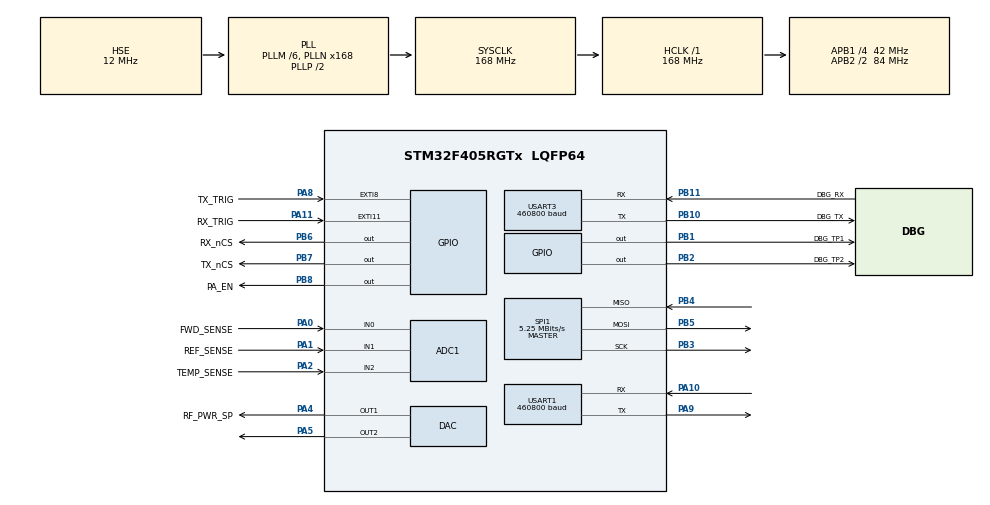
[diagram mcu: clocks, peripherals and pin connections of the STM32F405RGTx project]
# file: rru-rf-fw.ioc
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ADC1.Channel-0\#ChannelRegularConversion=ADC_CHANNEL_0
ADC1.Channel-1\#ChannelRegularConversion=ADC_CHANNEL_1
ADC1.Channel-2\#ChannelRegularConversion=ADC_CHANNEL_2
ADC1.ContinuousConvMode=DISABLE
ADC1.DMAContinuousRequests=ENABLE
ADC1.EOCSelection=ADC_EOC_SEQ_CONV
ADC1.ExternalTrigConv=ADC_EXTERNALTRIGCONV_T8_TRGO
ADC1.NbrOfConversion=3
ADC1.NbrOfConversionFlag=1
ADC1.Rank-0\#ChannelRegularConversion=1
ADC1.Rank-1\#ChannelRegularConversion=2
ADC1.Rank-2\#ChannelRegularConversion=3
ADC1.SamplingTime-0\#ChannelRegularConversion=ADC_SAMPLETIME_480CYCLES
ADC1.SamplingTime-1\#ChannelRegularConversion=ADC_SAMPLETIME_480CYCLES
ADC1.SamplingTime-2\#ChannelRegularConversion=ADC_SAMPLETIME_480CYCLES
ADC1.master=1
DAC.DAC_OutputBuffer=DAC_OUTPUTBUFFER_ENABLE
DAC.DAC_OutputBuffer2=DAC_OUTPUTBUFFER_ENABLE
DAC.DAC_Trigger=DAC_TRIGGER_SOFTWARE
DAC.DAC_Trigger2=DAC_TRIGGER_SOFTWARE
Dma.ADC1.0.Direction=DMA_PERIPH_TO_MEMORY
Dma.ADC1.0.FIFOMode=DMA_FIFOMODE_DISABLE
Dma.ADC1.0.Instance=DMA2_Stream0
Dma.ADC1.0.MemDataAlignment=DMA_MDATAALIGN_HALFWORD
Dma.ADC1.0.MemInc=DMA_MINC_ENABLE
Dma.ADC1.0.Mode=DMA_CIRCULAR
Dma.ADC1.0.PeriphDataAlignment=DMA_PDATAALIGN_HALFWORD
Dma.ADC1.0.PeriphInc=DMA_PINC_DISABLE
Dma.ADC1.0.Priority=DMA_PRIORITY_LOW
Dma.MEMTOMEM.3.Direction=DMA_MEMORY_TO_MEMORY
Dma.MEMTOMEM.3.FIFOMode=DMA_FIFOMODE_ENABLE
Dma.MEMTOMEM.3.FIFOThreshold=DMA_FIFO_THRESHOLD_FULL
Dma.MEMTOMEM.3.Instance=DMA2_Stream1
Dma.MEMTOMEM.3.MemBurst=DMA_MBURST_SINGLE
Dma.MEMTOMEM.3.MemDataAlignment=DMA_MDATAALIGN_BYTE
Dma.MEMTOMEM.3.MemInc=DMA_MINC_ENABLE
Dma.MEMTOMEM.3.Mode=DMA_NORMAL
Dma.MEMTOMEM.3.PeriphBurst=DMA_PBURST_SINGLE
Dma.MEMTOMEM.3.PeriphDataAlignment=DMA_PDATAALIGN_BYTE
Dma.MEMTOMEM.3.PeriphInc=DMA_PINC_ENABLE
Dma.MEMTOMEM.3.Priority=DMA_PRIORITY_LOW
Dma.Request0=ADC1
Dma.Request1=USART1_TX
Dma.Request2=USART1_RX
Dma.Request3=MEMTOMEM
Dma.Request4=USART3_TX
Dma.USART1_RX.2.Direction=DMA_PERIPH_TO_MEMORY
Dma.USART1_RX.2.FIFOMode=DMA_FIFOMODE_DISABLE
Dma.USART1_RX.2.Instance=DMA2_Stream2
Dma.USART1_RX.2.MemDataAlignment=DMA_MDATAALIGN_BYTE
Dma.USART1_RX.2.MemInc=DMA_MINC_ENABLE
Dma.USART1_RX.2.Mode=DMA_CIRCULAR
Dma.USART1_RX.2.PeriphDataAlignment=DMA_PDATAALIGN_BYTE
Dma.USART1_RX.2.PeriphInc=DMA_PINC_DISABLE
Dma.USART1_RX.2.Priority=DMA_PRIORITY_HIGH
Dma.USART1_TX.1.Direction=DMA_MEMORY_TO_PERIPH
Dma.USART1_TX.1.FIFOMode=DMA_FIFOMODE_DISABLE
Dma.USART1_TX.1.Instance=DMA2_Stream7
Dma.USART1_TX.1.MemDataAlignment=DMA_MDATAALIGN_BYTE
Dma.USART1_TX.1.MemInc=DMA_MINC_ENABLE
Dma.USART1_TX.1.Mode=DMA_NORMAL
Dma.USART1_TX.1.PeriphDataAlignment=DMA_PDATAALIGN_BYTE
Dma.USART1_TX.1.PeriphInc=DMA_PINC_DISABLE
Dma.USART1_TX.1.Priority=DMA_PRIORITY_HIGH
Dma.USART3_TX.4.Direction=DMA_MEMORY_TO_PERIPH
Dma.USART3_TX.4.FIFOMode=DMA_FIFOMODE_DISABLE
Dma.USART3_TX.4.Instance=DMA1_Stream3
Dma.USART3_TX.4.MemDataAlignment=DMA_MDATAALIGN_BYTE
Dma.USART3_TX.4.MemInc=DMA_MINC_ENABLE
Dma.USART3_TX.4.Mode=DMA_NORMAL
Dma.USART3_TX.4.PeriphDataAlignment=DMA_PDATAALIGN_BYTE
Dma.USART3_TX.4.PeriphInc=DMA_PINC_DISABLE
Dma.USART3_TX.4.Priority=DMA_PRIORITY_LOW
Mcu.Family=STM32F4
Mcu.Name=STM32F405RGTx
Mcu.Package=LQFP64
NVIC.ADC_IRQn=true\:3\:0\:true\:false\:true\:true\:true\:true
NVIC.DMA1_Stream3_IRQn=true\:0\:0\:false\:false\:true\:false\:true\:true
NVIC.DMA2_Stream0_IRQn=true\:3\:0\:true\:false\:true\:false\:true\:true
NVIC.DMA2_Stream2_IRQn=true\:0\:0\:false\:false\:true\:false\:true\:true
NVIC.DMA2_Stream7_IRQn=true\:1\:0\:true\:false\:true\:false\:true\:true
NVIC.EXTI9_5_IRQn=true\:0\:0\:false\:false\:true\:true\:true\:true
NVIC.PriorityGroup=NVIC_PRIORITYGROUP_4
NVIC.TIM6_DAC_IRQn=true\:2\:0\:true\:false\:true\:true\:true\:true
NVIC.USART1_IRQn=true\:1\:0\:true\:false\:true\:true\:true\:true
NVIC.USART3_IRQn=true\:0\:0\:false\:false\:true\:true\:true\:true
PA0-WKUP.GPIO_Label=FWD_SENSE
PA0-WKUP.Signal=ADCx_IN0
PA1.GPIO_Label=REF_SENSE
PA1.Signal=ADCx_IN1
PA10.Mode=Asynchronous
PA10.Signal=USART1_RX
PA11.GPIO_Label=RX_TRIG
PA11.Signal=GPXTI11
PA13.Mode=Serial_Wire
PA13.Signal=SYS_JTMS-SWDIO
PA14.Mode=Serial_Wire
PA14.Signal=SYS_JTCK-SWCLK
PA2.GPIO_Label=TEMP_SENSE
PA2.Signal=ADCx_IN2
PA4.GPIO_Label=RF_PWR_SP
PA4.Signal=COMP_DAC1_group
PA5.Signal=COMP_DAC2_group
PA8.GPIO_Label=TX_TRIG
PA8.Signal=GPXTI8
PA9.Mode=Asynchronous
PA9.Signal=USART1_TX
PB1.GPIO_Label=DBG_TP1
PB1.GPIO_Speed=GPIO_SPEED_FREQ_VERY_HIGH
PB1.Signal=GPIO_Output
PB10.GPIO_Label=DBG_TX
PB10.Mode=Asynchronous
PB10.Signal=USART3_TX
PB11.GPIO_Label=DBG_RX
PB11.Mode=Asynchronous
PB11.Signal=USART3_RX
PB2.GPIO_Label=DBG_TP2
PB2.GPIO_Speed=GPIO_SPEED_FREQ_VERY_HIGH
PB2.Signal=GPIO_Output
PB3.Mode=Full_Duplex_Master
PB3.Signal=SPI1_SCK
PB4.Mode=Full_Duplex_Master
PB4.Signal=SPI1_MISO
PB5.Mode=Full_Duplex_Master
PB5.Signal=SPI1_MOSI
PB6.GPIO_Label=RX_nCS
PB6.GPIO_Speed=GPIO_SPEED_FREQ_VERY_HIGH
PB6.PinState=GPIO_PIN_SET
PB6.Signal=GPIO_Output
PB7.GPIO_Label=TX_nCS
PB7.GPIO_Speed=GPIO_SPEED_FREQ_VERY_HIGH
PB7.PinState=GPIO_PIN_SET
PB7.Signal=GPIO_Output
PB8.GPIO_Label=PA_EN
PB8.GPIO_Speed=GPIO_SPEED_FREQ_VERY_HIGH
PB8.Signal=GPIO_Output
PH0-OSC_IN.Mode=HSE-External-Oscillator
PH0-OSC_IN.Signal=RCC_OSC_IN
PH1-OSC_OUT.Mode=HSE-External-Oscillator
PH1-OSC_OUT.Signal=RCC_OSC_OUT
ProjectManager.HeapSize=0x400
ProjectManager.StackSize=0x800
ProjectManager.TargetToolchain=STM32CubeIDE
RCC.48MHZClocksFreq_Value=84000000
RCC.AHBFreq_Value=168000000
RCC.APB1CLKDivider=RCC_HCLK_DIV4
RCC.APB1Freq_Value=42000000
RCC.APB1TimFreq_Value=84000000
RCC.APB2CLKDivider=RCC_HCLK_DIV2
RCC.APB2Freq_Value=84000000
RCC.APB2TimFreq_Value=168000000
RCC.CortexFreq_Value=168000000
RCC.HCLKFreq_Value=168000000
RCC.HSE_VALUE=12000000
RCC.HSI_VALUE=16000000
RCC.LSE_VALUE=32768
RCC.PLLM=6
RCC.PLLN=168
RCC.PLLSourceVirtual=RCC_PLLSOURCE_HSE
RCC.SYSCLKFreq_VALUE=168000000
RCC.SYSCLKSource=RCC_SYSCLKSOURCE_PLLCLK
RCC.VCOOutputFreq_Value=336000000
SH.ADCx_IN0.0=ADC1_IN0,IN0
SH.ADCx_IN1.0=ADC1_IN1,IN1
SH.ADCx_IN2.0=ADC1_IN2,IN2
SH.COMP_DAC1_group.0=DAC_OUT1,DAC_OUT1
SH.COMP_DAC2_group.0=DAC_OUT2,DAC_OUT2
SPI1.BaudRatePrescaler=SPI_BAUDRATEPRESCALER_16
SPI1.CalculateBaudRate=5.25 MBits/s
SPI1.Direction=SPI_DIRECTION_2LINES
SPI1.Mode=SPI_MODE_MASTER
SPI1.VirtualType=VM_MASTER
TIM6.Period=10-1
TIM6.Prescaler=8400-1
TIM6.TIM_MasterOutputTrigger=TIM_TRGO_UPDATE
TIM8.Period=1000-1
TIM8.Prescaler=8400-1
TIM8.TIM_MasterOutputTrigger=TIM_TRGO_UPDATE
USART1.BaudRate=460800
USART1.VirtualMode=VM_ASYNC
USART3.BaudRate=460800
USART3.VirtualMode=VM_ASYNC
VP_TIM6_VS_ClockSourceINT.Mode=Enable_Timer
VP_TIM8_VS_ClockSourceINT.Mode=Internal
board=custom

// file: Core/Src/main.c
/* USER CODE BEGIN Header */
/**
  ******************************************************************************
  * @file           : main.c
  * @brief          : Main program body
  ******************************************************************************
  * @attention
  *
  * Copyright (c) 2023 STMicroelectronics.
  * All rights reserved.
  *
  * This software is licensed under terms that can be found in the LICENSE file
  * in the root directory of this software component.
  * If no LICENSE file comes with this software, it is provided AS-IS.
  *
  ******************************************************************************
  */
/* USER CODE END Header */
#include "main.h"

/* USER CODE BEGIN Includes */
#include <math.h>
#include <string.h>
#include <stdio.h>
#include <stdarg.h>
#include "cc1200.h"
#include "term.h"
#include "interface_cmds.h"
#include "enums.h"
/* USER CODE END Includes */

/* USER CODE BEGIN PD */
#define IDENT_STR				"Remote Radio Unit (RRU) 420-450 MHz\nFW v2.0.0 by Wojciech SP5WWP"

#define DBG_MSGS											//enable debug messages over DBG_UART
#define VDDA					3.24f						//measured VDDA voltage
#define CC1200_REG_NUM			51							//number of regs used to initialize CC1200s
#define FCORR_STEP				(40.0e6f/262144.0f/8.0f)	//unit value for frequency correction (262144=2^18)
#define UART_LONG_BUF_SIZE		1024
#define UART_SHORT_BUF_SIZE		128							//buffer length for UART
#define SHORT_TXQ_SIZE			8							//TX queue length (short messages)
#define LONG_TXQ_SIZE   		2							//TX queue length (baseband transfers)
#define BSB_SIZE				960							//size of baseband chunks
#define BSB_TX_BUFF_SIZE		(12*BSB_SIZE)				//large buffer for baseband
/* USER CODE END PD */

/* USER CODE BEGIN PM */
#define FIX_TIMER_TRIGGER(handle_ptr) (__HAL_TIM_CLEAR_FLAG(handle_ptr, TIM_SR_UIF))
#define DBG_HALT while(1)
/* USER CODE END PM */

ADC_HandleTypeDef hadc1;
DMA_HandleTypeDef hdma_adc1;

DAC_HandleTypeDef hdac;

SPI_HandleTypeDef hspi1;

TIM_HandleTypeDef htim6;
TIM_HandleTypeDef htim8;

UART_HandleTypeDef huart1;
UART_HandleTypeDef huart3;
DMA_HandleTypeDef hdma_usart1_tx;
DMA_HandleTypeDef hdma_usart1_rx;
DMA_HandleTypeDef hdma_usart3_tx;

DMA_HandleTypeDef hdma_memtomem_dma2_stream1;
/* USER CODE BEGIN PV */
//aliases
UART_HandleTypeDef *ctrl_uart = &huart1;
UART_HandleTypeDef *dbg_uart = &huart3;
TIM_HandleTypeDef *ctrl_uart_tot = &htim6;
TIM_HandleTypeDef *adc_timebase = &htim8;

//errors
const char *errstrings[5] =
{
	"OK",
	"RX PLL did not lock",
	"TX PLL did not lock",
	"RX SPI communication error",
	"TX SPI communication error"
};

//settings
struct rru_settings_t
{
	uint32_t tx_freq;
	uint32_t rx_freq;
	float tx_pwr_dbm;
} rru_settings;

trx_data_t trx_data[2];

uint32_t dev_err; //default state - no error

uint8_t trx_state = TRX_IDLE;

//ADC stuff
volatile uint16_t adc_vals[3]; //raw values read from ADC channels 0, 1, and 2

//AD8318 RF power sensor cal data (consts for now)
//based on 2-point linear approximation
//P(U) = a*U + b + cal_atten + cal_corr
//U[V]		P[dBm]
//0.64		0.0
//1.85		-50.0
const float cal_a		= -41.3223140495868f;	//dBm/V
const float cal_b		=  26.4462809917355f;	//dBm
const float cal_offs	=  62.5f;				//dB
const float cal_corr	=  -3.6f;				//dB

//UART control and baseband transfer
volatile uint8_t uart_rx[UART_LONG_BUF_SIZE];	//DMA UART RX buffer
volatile uint16_t uart_rx_tail;
enum uart_state_t uart_state = WAIT_ID;		//idle state

uint8_t cmd_id;
uint16_t cmd_len;
uint16_t payload_pos;
uint8_t payload[1024];

typedef struct											//TX queue - short packets
{
	uint8_t  data[UART_SHORT_BUF_SIZE];
	uint16_t len;
} txq_queue_t;
txq_queue_t txq[SHORT_TXQ_SIZE];						//TX queue - short packets

volatile uint8_t txq_head;
volatile uint8_t txq_tail;
volatile uint8_t txq_busy;   							//ongoing DMA transfer?

typedef struct											//TX queue - long packets
{
    uint8_t data[UART_LONG_BUF_SIZE];
    uint16_t len;
} bsbq_queue_t;
bsbq_queue_t bsbq[LONG_TXQ_SIZE];						//TX queue - long packets

volatile uint8_t bsbq_head;
volatile uint8_t bsbq_tail;
volatile uint8_t bsbq_busy;

volatile uint8_t tx_pend;								//pending tx sample write?
volatile uint8_t tx_active;

uint8_t bsb_rx[2*BSB_SIZE];								//rx samples
volatile uint8_t rx_pend;								//pending rx sample read?
uint16_t rx_num_wr;

uint8_t circ_bsb_tx_buff[BSB_TX_BUFF_SIZE];
volatile uint16_t circ_bsb_buff_tail;
volatile uint16_t circ_bsb_buff_head;
/* USER CODE END PV */

void SystemClock_Config(void);
static void MX_GPIO_Init(void);
static void MX_DMA_Init(void);
static void MX_ADC1_Init(void);
static void MX_DAC_Init(void);
static void MX_SPI1_Init(void);
static void MX_USART1_UART_Init(void);
static void MX_USART3_UART_Init(void);
static void MX_TIM6_Init(void);
static void MX_TIM8_Init(void);

/* USER CODE BEGIN 0 */
void dbg_print(const char* color_code, const char* fmt, ...)
{
	#ifdef DBG_MSGS
	char str[100];
	va_list ap;

	va_start(ap, fmt);
	vsprintf(str, fmt, ap);
	va_end(ap);

	if(color_code!=NULL)
	{
		//TODO: replace this with queued DMA
		HAL_UART_Transmit(&huart3, (uint8_t*)color_code, strlen(color_code), 10);
		HAL_UART_Transmit(&huart3, (uint8_t*)str, strlen(str), 100);
		HAL_UART_Transmit(&huart3, (uint8_t*)TERM_DEFAULT, strlen(TERM_DEFAULT), 10);
	}
	else
	{
		HAL_UART_Transmit(&huart3, (uint8_t*)str, strlen(str), 100);
	}
	#endif
}

uint16_t dbm_to_alc(float dbm)
{
	//TODO: magic numbers
	return roundf(43.8033381164565f*dbm + 564.564609923722f);
}

//get RF power in dBm
//and temperature in degs C, based on LMT87's output voltage
void get_meas_vals(float* pwr_fwd, float* pwr_ref, float* temp)
{
	*pwr_fwd = cal_a * (adc_vals[0]/4096.0f*VDDA) + cal_b + cal_offs+cal_corr; //take coupling and attenuation into account
	*pwr_ref = cal_a * (adc_vals[1]/4096.0f*VDDA) + cal_b + cal_offs+cal_corr;
	*temp = (-13.582f+sqrtf(184.470724f+0.01732f*(2.2308f-(adc_vals[2]/4096.0f*VDDA))*1000.0f))/0.00866f + 30.0f;
}

//set rf power output setpoint
//0 - lowest power, 0xFFF - max power
void set_rf_pwr_setpoint(uint16_t pwr)
{
	HAL_DAC_SetValue(&hdac, DAC_CHANNEL_1, DAC_ALIGN_12B_R, pwr>0xFFF?0xFFF:pwr);
	HAL_DAC_Start(&hdac, DAC_CHANNEL_1);
}

void set_dac_ch2(uint16_t val)
{
	HAL_DAC_SetValue(&hdac, DAC_CHANNEL_2, DAC_ALIGN_12B_R, val>0xFFF?0xFFF:val);
	HAL_DAC_Start(&hdac, DAC_CHANNEL_2);
}

//calculate SWR based on fwd and ref power
//returns 0.0 when input data is invalid
float calc_swr(float fwd, float ref)
{
	//in an ideal world this would be physically impossible
	//but there's always some measurement error that could cause this
	if(ref >= fwd)
		return INFINITY;

	//dBm to watts
	fwd = powf(10.0f, fwd/10.0f - 3.0f);
	ref = powf(10.0f, ref/10.0f - 3.0f);

	float s = sqrtf(ref/fwd);

	return (1.0f+s)/(1.0f-s);
}

//enable RF PA (assert one of two enable signals)
void rf_pa_en(uint8_t en)
{
	if(en)
		PA_EN_GPIO_Port->BSRR=(uint32_t)PA_EN_Pin;
	else
		PA_EN_GPIO_Port->BSRR=(uint32_t)PA_EN_Pin<<16;
}

void set_TP(enum tp_t tp, uint8_t state)
{
	if(tp==TP1)
	{
		if(state)
			DBG_TP1_GPIO_Port->BSRR=(uint32_t)DBG_TP1_Pin;
		else
			DBG_TP1_GPIO_Port->BSRR=(uint32_t)DBG_TP1_Pin<<16;
	}
	else if(tp==TP2)
	{
		if(state)
			DBG_TP2_GPIO_Port->BSRR=(uint32_t)DBG_TP2_Pin;
		else
			DBG_TP2_GPIO_Port->BSRR=(uint32_t)DBG_TP2_Pin<<16;
	}
}

void set_uart_ctrl_timeout(uint8_t ms)
{
	ctrl_uart_tot->Instance->ARR = (uint32_t)ms*10 - 1;
}

void platform_init(void)
{
	//enable FPU
	#if (__FPU_PRESENT == 1) && (__FPU_USED == 1)
	SCB->CPACR |= ((3UL << 10*2)|(3UL << 11*2));  /* set CP10 and CP11 Full Access */
	#endif

	//default settings
	set_rf_pwr_setpoint(0);
	set_dac_ch2(0); //can be used for debugging
	rf_pa_en(0);
	trx_set_CS(CHIP_RX, 1);
	trx_set_CS(CHIP_TX, 1);
	set_TP(TP1, 0);
	set_TP(TP2, 0);

	HAL_Delay(500);
	trx_reset(CHIP_RX);
	trx_reset(CHIP_TX);

	HAL_Delay(100);
	trx_write_cmd(CHIP_RX, STR_IDLE);
	trx_write_cmd(CHIP_TX, STR_IDLE);

	dbg_print(0, TERM_CLR); //clear console and print out ident string
	dbg_print(TERM_GREEN, IDENT_STR); dbg_print(0,  "\n");

	HAL_Delay(10);
	trx_detect(CHIP_RX, trx_data[CHIP_RX].name);
	trx_detect(CHIP_TX, trx_data[CHIP_TX].name);
	dbg_print(0, "RX IC: %s\nTX IC: %s\n", trx_data[CHIP_RX].name, trx_data[CHIP_TX].name);

	trx_data[CHIP_RX].freq = 433475000;							//default
	trx_data[CHIP_TX].freq = 435000000;
	trx_data[CHIP_RX].fcorr = 0;
	trx_data[CHIP_TX].fcorr = 0;
	trx_data[CHIP_TX].pwr = 3;									//3 to 63
	rru_settings.tx_pwr_dbm = 30.00f;							//30dBm (1W) default

	dbg_print(0, "Starting TRX config...");
	trx_config(CHIP_RX, trx_data[CHIP_RX]);
	trx_config(CHIP_TX, trx_data[CHIP_TX]);
	trx_write_reg(CHIP_TX, 0x2F7E, 0); //zero frequency deviation at TX idle
	dbg_print(TERM_GREEN, " done\n");

	HAL_Delay(50);
	trx_write_cmd(CHIP_RX, STR_SCAL);
	trx_write_cmd(CHIP_TX, STR_SCAL);

	HAL_Delay(50);
	trx_data[CHIP_RX].pll_locked = ((trx_read_reg(CHIP_RX, 0x2F8D)^0x80)&0x81)==0x81; //FSCAL_CTRL=1 and FSCAL_CTRL_NOT_USED=0
	trx_data[CHIP_TX].pll_locked = ((trx_read_reg(CHIP_TX, 0x2F8D)^0x80)&0x81)==0x81;
	dbg_print(0, "RX PLL");
	trx_data[CHIP_RX].pll_locked ? dbg_print(TERM_GREEN, " locked\n") : dbg_print(TERM_RED, " unlocked\n");
	dbg_print(0, "TX PLL");
	trx_data[CHIP_TX].pll_locked ? dbg_print(TERM_GREEN, " locked\n") : dbg_print(TERM_RED, " unlocked\n");

	if(!trx_data[CHIP_RX].pll_locked)
	{
		dbg_print(TERM_RED, "ERROR %d: %s\n", ERR_RX_PLL, errstrings[ERR_RX_PLL]);
		dev_err|=(1UL<<ERR_RX_PLL);
	}
	if(!trx_data[CHIP_TX].pll_locked)
	{
		dbg_print(TERM_RED, "ERROR %d: %s\n", ERR_TX_PLL, errstrings[ERR_TX_PLL]);
		dev_err|=(1UL<<ERR_TX_PLL);
	}
	if(strstr((char*)trx_data[CHIP_RX].name, "unknown")!=NULL)
	{
		dbg_print(TERM_RED, "ERROR %d: %s\n", ERR_RX_SPI, errstrings[ERR_RX_SPI]);
		dev_err|=(1UL<<ERR_RX_SPI);
	}
	if(strstr((char*)trx_data[CHIP_TX].name, "unknown")!=NULL)
	{
		dbg_print(TERM_RED, "ERROR %d: %s\n", ERR_TX_SPI, errstrings[ERR_TX_SPI]);
		dev_err|=(1UL<<ERR_TX_SPI);
	}

	//set RX/TX to idle/TX
	trx_write_cmd(CHIP_RX, STR_IDLE);
	trx_write_cmd(CHIP_TX, STR_STX);

	//dbg_print(TERM_YELLOW, "[DBG] TX status %01X\n", trx_read_reg(CHIP_TX, STR_SNOP)>>4);
	//dbg_print(TERM_YELLOW, "[DBG] UART1 BRR: %08X\n", huart1.Instance->BRR);

	//start ADC conversions
	HAL_ADC_Start_DMA(&hadc1, (uint32_t*)adc_vals, 3);
	HAL_TIM_Base_Start(adc_timebase);

	//enable interface comms over UART1
	set_uart_ctrl_timeout(10); //10ms timeout
	HAL_UART_Receive_DMA(ctrl_uart, (uint8_t*)uart_rx, sizeof(uart_rx));
}

uint16_t uart_ctrl_data_avbl(void)
{
    uint16_t head = UART_LONG_BUF_SIZE - __HAL_DMA_GET_COUNTER(ctrl_uart->hdmarx);

    if (head >= uart_rx_tail)
        return head - uart_rx_tail;
    else
        return UART_LONG_BUF_SIZE - uart_rx_tail + head;
}

int uart_ctrl_get_byte(uint8_t *b)
{
    if (uart_ctrl_data_avbl() == 0)
        return 0;

    *b = uart_rx[uart_rx_tail];
    uart_rx_tail = (uart_rx_tail + 1) % UART_LONG_BUF_SIZE;

    //start the timeout timer when the data is detected, not when it arrives
    FIX_TIMER_TRIGGER(ctrl_uart_tot);
    ctrl_uart_tot->Instance->CNT = 0;
    HAL_TIM_Base_Start_IT(ctrl_uart_tot);

    return 1;
}

void interface_resp_short(uint8_t cid, const uint8_t *resp, uint16_t pld_len)
{
	uint16_t len = pld_len + 3;

	//drop oversized
    if (len > UART_SHORT_BUF_SIZE)
    	return;

    //next queue entry
    uint8_t next = (txq_head+1) % SHORT_TXQ_SIZE;

    //queue full, drop packet
    if (next == txq_tail)
    	return;

    txq[txq_head].data[0] = cid;
    memcpy(&txq[txq_head].data[1], (uint8_t*)&len, sizeof(uint16_t));
    memcpy(&txq[txq_head].data[3], resp, pld_len);
    txq[txq_head].len = len;
    txq_head = next;

    //if UART TX is idle, start transmission
    if (!txq_busy && !bsbq_busy)
    {
        txq_busy = 1;
        HAL_UART_Transmit_DMA(ctrl_uart, txq[txq_tail].data, txq[txq_tail].len);
    }
}

void interface_resp_long(uint8_t cid, const uint8_t *resp, uint16_t pld_len)
{
	uint16_t len = pld_len+3;

	//drop oversized
    if (len > UART_LONG_BUF_SIZE)
    	return;

    //next queue entry
    uint8_t next = (bsbq_head+1) % LONG_TXQ_SIZE;

    //queue full, drop packet
    if (next == bsbq_tail)
    	return;

    bsbq[bsbq_head].data[0] = cid;
    memcpy(&bsbq[bsbq_head].data[1], (uint8_t*)&len, sizeof(uint16_t));
    memcpy(&bsbq[bsbq_head].data[3], resp, pld_len);
    bsbq[bsbq_head].len = len;
    bsbq_head = next;

    //if UART TX is idle, start transmission
    if (!txq_busy && !bsbq_busy)
    {
    	bsbq_busy = 1;
        HAL_UART_Transmit_DMA(ctrl_uart, bsbq[bsbq_tail].data, bsbq[bsbq_tail].len);
    }
}

void interface_resp_byte(enum cmd_t cmd, uint8_t resp)
{
	//single-byte response (4 bytes total)
	interface_resp_short(cmd, &resp, 1);
}

void handle_command(uint8_t cid, uint8_t *pld, uint16_t pld_len)
{
	//float f_val;
	//int8_t i8_val;
	uint8_t u8_val;
	int16_t i16_val;
	uint32_t u32_val;

	switch (cid)
	{
		case CMD_PING:
			interface_resp_short(cid, (uint8_t*)&dev_err, sizeof(dev_err));
		break;

		case CMD_SET_RX_FREQ:
		{
			if (pld_len == sizeof(uint32_t))
			{
				memcpy((uint8_t*)&u32_val, pld, sizeof(uint32_t));
			}
			else
			{
				interface_resp_byte(cid, ERR_CMD_MALFORM);
				break;
			}

			if(u32_val>=420e6 && u32_val<=450e6)
			{
				trx_data[CHIP_RX].freq = u32_val;
				interface_resp_byte(cid, ERR_OK);
			}
			else
			{
				interface_resp_byte(cid, ERR_RANGE);
			}
		}
		break;

		case CMD_SET_TX_FREQ:
			if (pld_len == sizeof(uint32_t))
			{
				memcpy((uint8_t*)&u32_val, pld, sizeof(uint32_t));
			}
			else
			{
				interface_resp_byte(cid, ERR_CMD_MALFORM);
				break;
			}

			if(u32_val>=420e6 && u32_val<=450e6)
			{
				trx_data[CHIP_TX].freq = u32_val;
				interface_resp_byte(cid, ERR_OK);
			}
			else
			{
				interface_resp_byte(cid, ERR_RANGE);
			}
		break;

		case CMD_SET_TX_POWER:
		{
			if (pld_len == 1)
			{
				u8_val = pld[0];
			}
			else
			{
				interface_resp_byte(cid, ERR_CMD_MALFORM);
				break;
			}

			float pwr_sp = u8_val / 4.0f; //value in dBm*4

			if(pwr_sp>=30.0f && pwr_sp<=47.0f) //30 to 47 dBm
			{
				rru_settings.tx_pwr_dbm = pwr_sp;
				interface_resp_byte(cid, ERR_OK);
			}
			else
			{
				interface_resp_byte(cid, ERR_RANGE);
			}
		}
		break;

	  	case CMD_SET_RX_FREQ_CORR:
	  		if (pld_len == sizeof(int16_t))
	  		{
	  			memcpy((uint8_t*)&i16_val, pld, sizeof(int16_t));
	  		}
	  		else
	  		{
	  			interface_resp_byte(cid, ERR_CMD_MALFORM);
	  			break;
	  		}

			if(i16_val>=-200 && i16_val<=200) //keep it within a sane range
			{
				trx_data[CHIP_RX].fcorr = i16_val;
				interface_resp_byte(cid, ERR_OK);
			}
			else
			{
				interface_resp_byte(cid, ERR_RANGE);
			}
		break;

	  	case CMD_SET_TX_FREQ_CORR:
	  		if (pld_len == sizeof(int16_t))
	  		{
	  			memcpy((uint8_t*)&i16_val, pld, sizeof(int16_t));
	  		}
	  		else
	  		{
	  			interface_resp_byte(cid, ERR_CMD_MALFORM);
	  			break;
	  		}

			if(i16_val>=-200 && i16_val<=200) //keep it within a sane range
			{
				trx_data[CHIP_TX].fcorr = i16_val;
				interface_resp_byte(cid, ERR_OK);
			}
			else
			{
				interface_resp_byte(cid, ERR_RANGE);
			}
		break;

	  	case CMD_SET_AFC:
	  		if (pld_len == 1)
	  		{
	  			u8_val = *pld;
	  		}
	  		else
	  		{
	  			interface_resp_byte(cid, ERR_CMD_MALFORM);
	  			break;
	  		}

	  		//the change will be applied at the next TX->RX switch
			trx_data[CHIP_RX].afc = u8_val==0 ? 0 : 1;
			interface_resp_byte(cid, ERR_OK);
		break;

	  	case CMD_TX_START:
	  		if (pld_len == 1)
	  		{
	  			u8_val = *pld;
	  		}
	  		else
	  		{
	  			interface_resp_byte(cid, ERR_CMD_MALFORM);
	  			break;
	  		}

	  		if(u8_val) //start
	  		{
	  			if(trx_state==TRX_IDLE && dev_err==ERR_OK)
				{
					//reset the buffer and state machine
					memset(circ_bsb_tx_buff, 0, sizeof(circ_bsb_tx_buff));
					circ_bsb_buff_tail = 0;
					circ_bsb_buff_head = 0;

	  				//config CC1200
					/*trx_data[CHIP_TX].pwr = 13 + (rru_settings.tx_pwr_dbm-30)*2; //TODO: fix this!
		  			trx_config(CHIP_TX, trx_data[CHIP_TX]);
		  			HAL_Delay(10);
		  			trx_write_cmd(CHIP_TX, STR_STX);*/

		  			//switch state
	  				trx_state = TRX_TX;
	  				tx_active = 0;

		  			//enable RF PA
		  			/*HAL_Delay(50);
		  			rf_pa_en(1);*/

					//enable external baseband sample triggering
					//HAL_NVIC_EnableIRQ(EXTI9_5_IRQn);

					//reply
					interface_resp_byte(cid, ERR_OK);
				}
				else
				{
					if (dev_err!=ERR_OK)
						interface_resp_byte(cid, ERR_OTHER);
					else
						interface_resp_byte(cid, ERR_BUSY);
				}
	  		}
	  		else //stop
	  		{
	  			if(trx_state==TRX_TX && dev_err==ERR_OK)
				{
					//disable external baseband sample triggering
					HAL_NVIC_DisableIRQ(EXTI9_5_IRQn);

	  				//disable RF PA
	  				rf_pa_en(0);

					//set CC1200 to low RF power
					trx_data[CHIP_TX].pwr = 3;
					trx_config(CHIP_TX, trx_data[CHIP_TX]);
					HAL_Delay(10);
					trx_write_cmd(CHIP_TX, STR_STX);

					//switch state
					trx_state = TRX_IDLE;
					tx_active = 0;

					//reply
					interface_resp_byte(cid, ERR_OK);
				}
				else
				{
					if (dev_err!=ERR_OK)
						interface_resp_byte(cid, ERR_OTHER);
					else
						interface_resp_byte(cid, ERR_NOP);
				}
	  		}
	  	break;

	  	case CMD_RX_START:
	  		if (pld_len == 1)
	  		{
	  			u8_val = *pld;
	  		}
	  		else
	  		{
	  			interface_resp_byte(cid, ERR_CMD_MALFORM);
	  			break;
	  		}

	  		if(u8_val) //start
	  		{
	  			if(trx_state==TRX_IDLE && dev_err==ERR_OK)
	  			{
	  				//reset buffers
	  				memset(bsb_rx, 0, sizeof(bsb_rx));
	  				rx_pend = 0;
	  				rx_num_wr = 0;

	  				//config CC1200
	  				trx_config(CHIP_RX, trx_data[CHIP_RX]);
	  				HAL_Delay(10);

	  				//switch to RX
	  				trx_write_cmd(CHIP_RX, STR_SRX);
	  				HAL_Delay(10);
	  				trx_state = TRX_RX;

	  				//enable 24kHz trigger (TODO: check if this works if RX is issued before TX)
	  				HAL_NVIC_EnableIRQ(EXTI9_5_IRQn);

	  				//reply
	  				interface_resp_byte(cid, ERR_OK);
	  			}
	  			else
	  			{
	  				if (dev_err!=ERR_OK)
	  					interface_resp_byte(cid, ERR_OTHER);
	  				else
	  					interface_resp_byte(cid, ERR_BUSY);
	  			}
	  		}
	  		else //stop
	  		{
	  			if (trx_state==TRX_RX && dev_err==ERR_OK)
	  			{
					  //disable read baseband trigger signal
					  HAL_NVIC_DisableIRQ(EXTI9_5_IRQn);

					  //switch device state
					  trx_write_cmd(CHIP_RX, STR_IDLE);
					  trx_state = TRX_IDLE;

					  //reply
					  interface_resp_byte(cid, ERR_OK); //OK
	  			}
	  			else
	  			{
	  				if (dev_err!=ERR_OK)
	  					interface_resp_byte(cid, ERR_OTHER);
	  				else
	  					interface_resp_byte(cid, ERR_NOP);
	  			}
	  		  }
	  	break;

	  	case CMD_TX_DATA:
	  		  if (trx_state==TRX_TX && pld_len==960)
	  		  {
	  			  //enough space in the circular buffer?
	  			  if ((circ_bsb_buff_tail - circ_bsb_buff_head - 1 + BSB_TX_BUFF_SIZE) % BSB_TX_BUFF_SIZE >= 960)
	  			  {
	  				  u32_val = BSB_TX_BUFF_SIZE - circ_bsb_buff_head;

	  				  if (u32_val >= 960)
	  				  {
	  					  memcpy(&circ_bsb_tx_buff[circ_bsb_buff_head], pld, 960);
	  				  }
	  				  else
	  				  {
					      memcpy(&circ_bsb_tx_buff[circ_bsb_buff_head], pld, u32_val);
						  memcpy(&circ_bsb_tx_buff[0], pld + u32_val, 960 - u32_val);
	  				  }

					  circ_bsb_buff_head = (circ_bsb_buff_head+960) % BSB_TX_BUFF_SIZE;

					  uint16_t fill = (circ_bsb_buff_head - circ_bsb_buff_tail + BSB_TX_BUFF_SIZE) % BSB_TX_BUFF_SIZE;
					  if (fill >= 6 * BSB_SIZE && tx_active == 0)
					  {
						  trx_data[CHIP_TX].pwr = 13 + (rru_settings.tx_pwr_dbm-30)*2; //TODO: fix this!
						  trx_config(CHIP_TX, trx_data[CHIP_TX]);
						  HAL_Delay(10);
						  trx_write_cmd(CHIP_TX, STR_STX);

						  rf_pa_en(1);

						  //enable baseband trigger
						  HAL_NVIC_EnableIRQ(EXTI9_5_IRQn);

						  tx_active = 1;
					  }

					  interface_resp_byte(cid, ERR_OK);
	  			  }
	  			  else
	  			  {
	  				  interface_resp_byte(cid, ERR_BUFF_FULL);
	  			  }
	  		  }
	  	  break;

	  	  case CMD_GET_IDENT:
			  //reply with the device's IDENT string
			  interface_resp_short(cid, (uint8_t*)IDENT_STR, strlen(IDENT_STR));
		  break;

	  	  case CMD_GET_CAPS:
			  //FM only, half-duplex for now
			  interface_resp_byte(cid, 0x02);
		  break;

	  	  case CMD_GET_RX_FREQ:
	  		  interface_resp_short(cid, (uint8_t*)&trx_data[CHIP_RX].freq, sizeof(uint32_t));
		  break;

	  	  case CMD_GET_TX_FREQ:
	  		  interface_resp_short(cid, (uint8_t*)&trx_data[CHIP_TX].freq, sizeof(uint32_t));
		  break;

	  	  case CMD_GET_TX_POWER:
	  		  ;
		  break;

	  	  case CMD_GET_BSB_BUFF:
	  		  //TODO: put some working code here
	  		  interface_resp_byte(cid, 0);
	  	  break;

	  	  case CMD_GET_RSSI:
	  		  u8_val = trx_read_reg(CHIP_RX, 0x2F71); //RSSI
	  		  interface_resp_byte(cid, u8_val);
		  break;

	  	  case 0xA0: // debug command only
	  	  {
	  		  char msg[128];
	  		  float fwd, ref, temp;
	  		  get_meas_vals(&fwd, &ref, &temp);
	  		  sprintf(msg, "FWD %.1fdBm REF %.1fdBm, TEMP %.1f*C\n", fwd, ref, temp);
	  		  HAL_UART_Transmit(ctrl_uart, (uint8_t*)msg, strlen(msg), 100);
	  	  }
		  break;
	}
}

void uart_ctrl_process(void)
{
    uint8_t b;

    while (uart_ctrl_get_byte(&b))
    {
        switch (uart_state)
        {
			case WAIT_ID:
				cmd_id = b;
				uart_state = WAIT_LEN1;
			break;

			case WAIT_LEN1:
				cmd_len = b;
				uart_state = WAIT_LEN2;
			break;

			case WAIT_LEN2:
				cmd_len |= ((uint16_t)b << 8);
				payload_pos = 0;

				if (cmd_len == 3)
				{
					handle_command(cmd_id, NULL, 0);
					uart_state = WAIT_ID;
				}
				else
					uart_state = WAIT_PAYLOAD;
			break;

			case WAIT_PAYLOAD:
				payload[payload_pos++] = b;

				if (payload_pos >= cmd_len - 3)
				{
					handle_command(cmd_id, payload, payload_pos);
					uart_state = WAIT_ID;
				}
			break;
        }
    }
}

void HAL_TIM_PeriodElapsedCallback(TIM_HandleTypeDef *htim)
{
	TIM_TypeDef* tim = htim->Instance;

	//USART1 timeout timer
	if(tim == TIM6)
	{
		HAL_TIM_Base_Stop_IT(ctrl_uart_tot);
		uart_state = WAIT_ID;
	}
}

void HAL_GPIO_EXTI_Callback(uint16_t GPIO_Pin)
{
	//24kHz trigger signal from the RX CC1200
	if(GPIO_Pin == TX_TRIG_Pin)
	{
		//HAL_GPIO_TogglePin(DBG_TP1_GPIO_Port, DBG_TP1_Pin);

		if (trx_state == TRX_TX)
		{
			tx_pend = 1;
		}

		//TODO: this is half duplex!
		else if (trx_state == TRX_RX)
		{
			//pending RX baseband sample retrieval
			rx_pend = 1;
		}
	}
}

/*void HAL_UART_RxCpltCallback(UART_HandleTypeDef *huart)
{
	USART_TypeDef* iface = huart->Instance;

	//UART for control
	if(iface==USART1)
	{
		;
	}
}*/

void HAL_UART_TxCpltCallback(UART_HandleTypeDef *huart)
{
	if (huart == ctrl_uart)
    {
    	if (bsbq_busy)
    	{
    		bsbq_tail = (bsbq_tail+1) % LONG_TXQ_SIZE;

			//any more messages pending?
			if (bsbq_tail != bsbq_head)
			{
				HAL_UART_Transmit_DMA(huart, bsbq[bsbq_tail].data, bsbq[bsbq_tail].len);
			}
			else //TX queue is empty
			{
				bsbq_busy = 0;
			}
    	}

    	else if (txq_busy)
    	{
			txq_tail = (txq_tail+1) % SHORT_TXQ_SIZE;

			//any more messages pending?
			if (txq_tail != txq_head)
			{
				HAL_UART_Transmit_DMA(huart, txq[txq_tail].data, txq[txq_tail].len);
			}
			else //TX queue is empty
			{
				txq_busy = 0;
			}
    	}

    	//continue the transmission if there's data in the other queue
        if (!bsbq_busy && bsbq_tail != bsbq_head)
        {
            //start next long packet
            bsbq_busy = 1;
            HAL_UART_Transmit_DMA(huart, bsbq[bsbq_tail].data, bsbq[bsbq_tail].len);
            return;
        }

        if (!txq_busy && txq_tail != txq_head)
        {
            //start next short packet
            txq_busy = 1;
            HAL_UART_Transmit_DMA(huart, txq[txq_tail].data, txq[txq_tail].len);
            return;
        }
    }
}
/* USER CODE END 0 */

int main(void)
{

  /* MCU Configuration--------------------------------------------------------*/

  /* Reset of all peripherals, Initializes the Flash interface and the Systick. */
  HAL_Init();

  /* Configure the system clock */
  SystemClock_Config();

  /* Initialize all configured peripherals */
  MX_GPIO_Init();
  MX_DMA_Init();
  MX_ADC1_Init();
  MX_DAC_Init();
  MX_SPI1_Init();
  MX_USART1_UART_Init();
  MX_USART3_UART_Init();
  MX_TIM6_Init();
  MX_TIM8_Init();
  /* USER CODE BEGIN 2 */
  platform_init();

  /* USER CODE END 2 */

  /* Infinite loop */
  /* USER CODE BEGIN WHILE */
  while(1)
  {
	uart_ctrl_process();

	if (rx_pend)
	{
		//initiate samples transfer (readout) TODO: this is half-duplex!
		trx_set_CS(CHIP_RX, 0);
		uint8_t d[3] = {0x2F|0x80, 0x7D, 0x00}; //CFM_RX_DATA_OUT, read - single byte
		uint8_t v[3] = {0};
		HAL_SPI_TransmitReceive(&hspi1, d, v, 3, 2);
		trx_set_CS(CHIP_RX, 1);

		bsb_rx[rx_num_wr] = v[2];
		rx_num_wr++;

		//send a chunk of samples when ready
		if (rx_num_wr == BSB_SIZE)
		{
			interface_resp_long(CMD_RX_DATA, &bsb_rx[0], BSB_SIZE);
		}
		else if (rx_num_wr == 2*BSB_SIZE)
		{
			interface_resp_long(CMD_RX_DATA, &bsb_rx[BSB_SIZE], BSB_SIZE);
		}

		rx_num_wr %= 2*BSB_SIZE;
		rx_pend = 0;
	}

	if (tx_pend)
	{
		trx_set_CS(CHIP_TX, 0);
        if (circ_bsb_buff_tail != circ_bsb_buff_head)
        {
        	//CFM_RX_DATA_IN, write - single byte
        	uint8_t b[3] = {0x2F, 0x7E, circ_bsb_tx_buff[circ_bsb_buff_tail]};
            HAL_SPI_Transmit(&hspi1, b, 3, 2);
            circ_bsb_buff_tail = (circ_bsb_buff_tail + 1) % BSB_TX_BUFF_SIZE;
        }
        else
        {
            //buffer empty, send zeros
        	uint8_t b[3] = {0x2F, 0x7E, 0}; //CFM_RX_DATA_IN, write - single byte
            HAL_SPI_Transmit(&hspi1, b, 3, 2);
        }
        trx_set_CS(CHIP_TX, 1);

		tx_pend = 0;
	}
    /* USER CODE END WHILE */

  }
}

void SystemClock_Config(void)
{
  RCC_OscInitTypeDef RCC_OscInitStruct = {0};
  RCC_ClkInitTypeDef RCC_ClkInitStruct = {0};

  /** Configure the main internal regulator output voltage
  */
  __HAL_RCC_PWR_CLK_ENABLE();
  __HAL_PWR_VOLTAGESCALING_CONFIG(PWR_REGULATOR_VOLTAGE_SCALE1);

  /** Initializes the RCC Oscillators according to the specified parameters
  * in the RCC_OscInitTypeDef structure.
  */
  RCC_OscInitStruct.OscillatorType = RCC_OSCILLATORTYPE_HSE;
  RCC_OscInitStruct.HSEState = RCC_HSE_ON;
  RCC_OscInitStruct.PLL.PLLState = RCC_PLL_ON;
  RCC_OscInitStruct.PLL.PLLSource = RCC_PLLSOURCE_HSE;
  RCC_OscInitStruct.PLL.PLLM = 6;
  RCC_OscInitStruct.PLL.PLLN = 168;
  RCC_OscInitStruct.PLL.PLLP = RCC_PLLP_DIV2;
  RCC_OscInitStruct.PLL.PLLQ = 4;
  if (HAL_RCC_OscConfig(&RCC_OscInitStruct) != HAL_OK)
  {
    Error_Handler();
  }

  /** Initializes the CPU, AHB and APB buses clocks
  */
  RCC_ClkInitStruct.ClockType = RCC_CLOCKTYPE_HCLK|RCC_CLOCKTYPE_SYSCLK
                              |RCC_CLOCKTYPE_PCLK1|RCC_CLOCKTYPE_PCLK2;
  RCC_ClkInitStruct.SYSCLKSource = RCC_SYSCLKSOURCE_PLLCLK;
  RCC_ClkInitStruct.AHBCLKDivider = RCC_SYSCLK_DIV1;
  RCC_ClkInitStruct.APB1CLKDivider = RCC_HCLK_DIV4;
  RCC_ClkInitStruct.APB2CLKDivider = RCC_HCLK_DIV2;

  if (HAL_RCC_ClockConfig(&RCC_ClkInitStruct, FLASH_LATENCY_5) != HAL_OK)
  {
    Error_Handler();
  }
}

static void MX_ADC1_Init(void)
{

  ADC_ChannelConfTypeDef sConfig = {0};

  /** Configure the global features of the ADC (Clock, Resolution, Data Alignment and number of conversion)
  */
  hadc1.Instance = ADC1;
  hadc1.Init.ClockPrescaler = ADC_CLOCK_SYNC_PCLK_DIV4;
  hadc1.Init.Resolution = ADC_RESOLUTION_12B;
  hadc1.Init.ScanConvMode = ENABLE;
  hadc1.Init.ContinuousConvMode = DISABLE;
  hadc1.Init.DiscontinuousConvMode = DISABLE;
  hadc1.Init.ExternalTrigConvEdge = ADC_EXTERNALTRIGCONVEDGE_RISING;
  hadc1.Init.ExternalTrigConv = ADC_EXTERNALTRIGCONV_T8_TRGO;
  hadc1.Init.DataAlign = ADC_DATAALIGN_RIGHT;
  hadc1.Init.NbrOfConversion = 3;
  hadc1.Init.DMAContinuousRequests = ENABLE;
  hadc1.Init.EOCSelection = ADC_EOC_SEQ_CONV;
  if (HAL_ADC_Init(&hadc1) != HAL_OK)
  {
    Error_Handler();
  }

  /** Configure for the selected ADC regular channel its corresponding rank in the sequencer and its sample time.
  */
  sConfig.Channel = ADC_CHANNEL_0;
  sConfig.Rank = 1;
  sConfig.SamplingTime = ADC_SAMPLETIME_480CYCLES;
  if (HAL_ADC_ConfigChannel(&hadc1, &sConfig) != HAL_OK)
  {
    Error_Handler();
  }

  /** Configure for the selected ADC regular channel its corresponding rank in the sequencer and its sample time.
  */
  sConfig.Channel = ADC_CHANNEL_1;
  sConfig.Rank = 2;
  if (HAL_ADC_ConfigChannel(&hadc1, &sConfig) != HAL_OK)
  {
    Error_Handler();
  }

  /** Configure for the selected ADC regular channel its corresponding rank in the sequencer and its sample time.
  */
  sConfig.Channel = ADC_CHANNEL_2;
  sConfig.Rank = 3;
  if (HAL_ADC_ConfigChannel(&hadc1, &sConfig) != HAL_OK)
  {
    Error_Handler();
  }

}

static void MX_DAC_Init(void)
{

  DAC_ChannelConfTypeDef sConfig = {0};

  /** DAC Initialization
  */
  hdac.Instance = DAC;
  if (HAL_DAC_Init(&hdac) != HAL_OK)
  {
    Error_Handler();
  }

  /** DAC channel OUT1 config
  */
  sConfig.DAC_Trigger = DAC_TRIGGER_SOFTWARE;
  sConfig.DAC_OutputBuffer = DAC_OUTPUTBUFFER_ENABLE;
  if (HAL_DAC_ConfigChannel(&hdac, &sConfig, DAC_CHANNEL_1) != HAL_OK)
  {
    Error_Handler();
  }

  /** DAC channel OUT2 config
  */
  if (HAL_DAC_ConfigChannel(&hdac, &sConfig, DAC_CHANNEL_2) != HAL_OK)
  {
    Error_Handler();
  }

}

static void MX_SPI1_Init(void)
{

  /* SPI1 parameter configuration*/
  hspi1.Instance = SPI1;
  hspi1.Init.Mode = SPI_MODE_MASTER;
  hspi1.Init.Direction = SPI_DIRECTION_2LINES;
  hspi1.Init.DataSize = SPI_DATASIZE_8BIT;
  hspi1.Init.CLKPolarity = SPI_POLARITY_LOW;
  hspi1.Init.CLKPhase = SPI_PHASE_1EDGE;
  hspi1.Init.NSS = SPI_NSS_SOFT;
  hspi1.Init.BaudRatePrescaler = SPI_BAUDRATEPRESCALER_16;
  hspi1.Init.FirstBit = SPI_FIRSTBIT_MSB;
  hspi1.Init.TIMode = SPI_TIMODE_DISABLE;
  hspi1.Init.CRCCalculation = SPI_CRCCALCULATION_DISABLE;
  hspi1.Init.CRCPolynomial = 10;
  if (HAL_SPI_Init(&hspi1) != HAL_OK)
  {
    Error_Handler();
  }

}

static void MX_TIM6_Init(void)
{

  TIM_MasterConfigTypeDef sMasterConfig = {0};

  htim6.Instance = TIM6;
  htim6.Init.Prescaler = 8400-1;
  htim6.Init.CounterMode = TIM_COUNTERMODE_UP;
  htim6.Init.Period = 10-1;
  htim6.Init.AutoReloadPreload = TIM_AUTORELOAD_PRELOAD_DISABLE;
  if (HAL_TIM_Base_Init(&htim6) != HAL_OK)
  {
    Error_Handler();
  }
  sMasterConfig.MasterOutputTrigger = TIM_TRGO_UPDATE;
  sMasterConfig.MasterSlaveMode = TIM_MASTERSLAVEMODE_DISABLE;
  if (HAL_TIMEx_MasterConfigSynchronization(&htim6, &sMasterConfig) != HAL_OK)
  {
    Error_Handler();
  }

}

static void MX_TIM8_Init(void)
{

  TIM_ClockConfigTypeDef sClockSourceConfig = {0};
  TIM_MasterConfigTypeDef sMasterConfig = {0};

  htim8.Instance = TIM8;
  htim8.Init.Prescaler = 8400-1;
  htim8.Init.CounterMode = TIM_COUNTERMODE_UP;
  htim8.Init.Period = 1000-1;
  htim8.Init.ClockDivision = TIM_CLOCKDIVISION_DIV1;
  htim8.Init.RepetitionCounter = 0;
  htim8.Init.AutoReloadPreload = TIM_AUTORELOAD_PRELOAD_DISABLE;
  if (HAL_TIM_Base_Init(&htim8) != HAL_OK)
  {
    Error_Handler();
  }
  sClockSourceConfig.ClockSource = TIM_CLOCKSOURCE_INTERNAL;
  if (HAL_TIM_ConfigClockSource(&htim8, &sClockSourceConfig) != HAL_OK)
  {
    Error_Handler();
  }
  sMasterConfig.MasterOutputTrigger = TIM_TRGO_UPDATE;
  sMasterConfig.MasterSlaveMode = TIM_MASTERSLAVEMODE_DISABLE;
  if (HAL_TIMEx_MasterConfigSynchronization(&htim8, &sMasterConfig) != HAL_OK)
  {
    Error_Handler();
  }

}

static void MX_USART1_UART_Init(void)
{

  huart1.Instance = USART1;
  huart1.Init.BaudRate = 460800;
  huart1.Init.WordLength = UART_WORDLENGTH_8B;
  huart1.Init.StopBits = UART_STOPBITS_1;
  huart1.Init.Parity = UART_PARITY_NONE;
  huart1.Init.Mode = UART_MODE_TX_RX;
  huart1.Init.HwFlowCtl = UART_HWCONTROL_NONE;
  huart1.Init.OverSampling = UART_OVERSAMPLING_16;
  if (HAL_UART_Init(&huart1) != HAL_OK)
  {
    Error_Handler();
  }

}

static void MX_USART3_UART_Init(void)
{

  huart3.Instance = USART3;
  huart3.Init.BaudRate = 460800;
  huart3.Init.WordLength = UART_WORDLENGTH_8B;
  huart3.Init.StopBits = UART_STOPBITS_1;
  huart3.Init.Parity = UART_PARITY_NONE;
  huart3.Init.Mode = UART_MODE_TX_RX;
  huart3.Init.HwFlowCtl = UART_HWCONTROL_NONE;
  huart3.Init.OverSampling = UART_OVERSAMPLING_16;
  if (HAL_UART_Init(&huart3) != HAL_OK)
  {
    Error_Handler();
  }

}

static void MX_DMA_Init(void)
{

  /* DMA controller clock enable */
  __HAL_RCC_DMA2_CLK_ENABLE();
  __HAL_RCC_DMA1_CLK_ENABLE();

  /* Configure DMA request hdma_memtomem_dma2_stream1 on DMA2_Stream1 */
  hdma_memtomem_dma2_stream1.Instance = DMA2_Stream1;
  hdma_memtomem_dma2_stream1.Init.Channel = DMA_CHANNEL_0;
  hdma_memtomem_dma2_stream1.Init.Direction = DMA_MEMORY_TO_MEMORY;
  hdma_memtomem_dma2_stream1.Init.PeriphInc = DMA_PINC_ENABLE;
  hdma_memtomem_dma2_stream1.Init.MemInc = DMA_MINC_ENABLE;
  hdma_memtomem_dma2_stream1.Init.PeriphDataAlignment = DMA_PDATAALIGN_BYTE;
  hdma_memtomem_dma2_stream1.Init.MemDataAlignment = DMA_MDATAALIGN_BYTE;
  hdma_memtomem_dma2_stream1.Init.Mode = DMA_NORMAL;
  hdma_memtomem_dma2_stream1.Init.Priority = DMA_PRIORITY_LOW;
  hdma_memtomem_dma2_stream1.Init.FIFOMode = DMA_FIFOMODE_ENABLE;
  hdma_memtomem_dma2_stream1.Init.FIFOThreshold = DMA_FIFO_THRESHOLD_FULL;
  hdma_memtomem_dma2_stream1.Init.MemBurst = DMA_MBURST_SINGLE;
  hdma_memtomem_dma2_stream1.Init.PeriphBurst = DMA_PBURST_SINGLE;
  if (HAL_DMA_Init(&hdma_memtomem_dma2_stream1) != HAL_OK)
  {
    Error_Handler( );
  }

  /* DMA interrupt init */
  /* DMA1_Stream3_IRQn interrupt configuration */
  HAL_NVIC_SetPriority(DMA1_Stream3_IRQn, 0, 0);
  HAL_NVIC_EnableIRQ(DMA1_Stream3_IRQn);
  /* DMA2_Stream0_IRQn interrupt configuration */
  HAL_NVIC_SetPriority(DMA2_Stream0_IRQn, 3, 0);
  HAL_NVIC_EnableIRQ(DMA2_Stream0_IRQn);
  /* DMA2_Stream2_IRQn interrupt configuration */
  HAL_NVIC_SetPriority(DMA2_Stream2_IRQn, 0, 0);
  HAL_NVIC_EnableIRQ(DMA2_Stream2_IRQn);
  /* DMA2_Stream7_IRQn interrupt configuration */
  HAL_NVIC_SetPriority(DMA2_Stream7_IRQn, 1, 0);
  HAL_NVIC_EnableIRQ(DMA2_Stream7_IRQn);

}

static void MX_GPIO_Init(void)
{
  GPIO_InitTypeDef GPIO_InitStruct = {0};

  /* GPIO Ports Clock Enable */
  __HAL_RCC_GPIOH_CLK_ENABLE();
  __HAL_RCC_GPIOA_CLK_ENABLE();
  __HAL_RCC_GPIOB_CLK_ENABLE();

  /*Configure GPIO pin Output Level */
  HAL_GPIO_WritePin(GPIOB, DBG_TP1_Pin|DBG_TP2_Pin|PA_EN_Pin, GPIO_PIN_RESET);

  /*Configure GPIO pin Output Level */
  HAL_GPIO_WritePin(GPIOB, RX_nCS_Pin|TX_nCS_Pin, GPIO_PIN_SET);

  /*Configure GPIO pins : DBG_TP1_Pin DBG_TP2_Pin RX_nCS_Pin TX_nCS_Pin
                           PA_EN_Pin */
  GPIO_InitStruct.Pin = DBG_TP1_Pin|DBG_TP2_Pin|RX_nCS_Pin|TX_nCS_Pin
                          |PA_EN_Pin;
  GPIO_InitStruct.Mode = GPIO_MODE_OUTPUT_PP;
  GPIO_InitStruct.Pull = GPIO_NOPULL;
  GPIO_InitStruct.Speed = GPIO_SPEED_FREQ_VERY_HIGH;
  HAL_GPIO_Init(GPIOB, &GPIO_InitStruct);

  /*Configure GPIO pins : TX_TRIG_Pin RX_TRIG_Pin */
  GPIO_InitStruct.Pin = TX_TRIG_Pin|RX_TRIG_Pin;
  GPIO_InitStruct.Mode = GPIO_MODE_IT_RISING;
  GPIO_InitStruct.Pull = GPIO_NOPULL;
  HAL_GPIO_Init(GPIOA, &GPIO_InitStruct);

  /* EXTI interrupt init*/
  HAL_NVIC_SetPriority(EXTI9_5_IRQn, 0, 0);
  HAL_NVIC_EnableIRQ(EXTI9_5_IRQn);

  /* USER CODE BEGIN MX_GPIO_Init_2 */
  HAL_NVIC_DisableIRQ(EXTI9_5_IRQn); //immediately disable it, as we don't need it right away
  /* USER CODE END MX_GPIO_Init_2 */
}

void Error_Handler(void)
{
  /* USER CODE BEGIN Error_Handler_Debug */
  /* User can add his own implementation to report the HAL error return state */
  __disable_irq();
  DBG_TP2_GPIO_Port->BSRR=(uint32_t)DBG_TP2_Pin;
  while (1)
  {
	  ;
  }
  /* USER CODE END Error_Handler_Debug */
}
